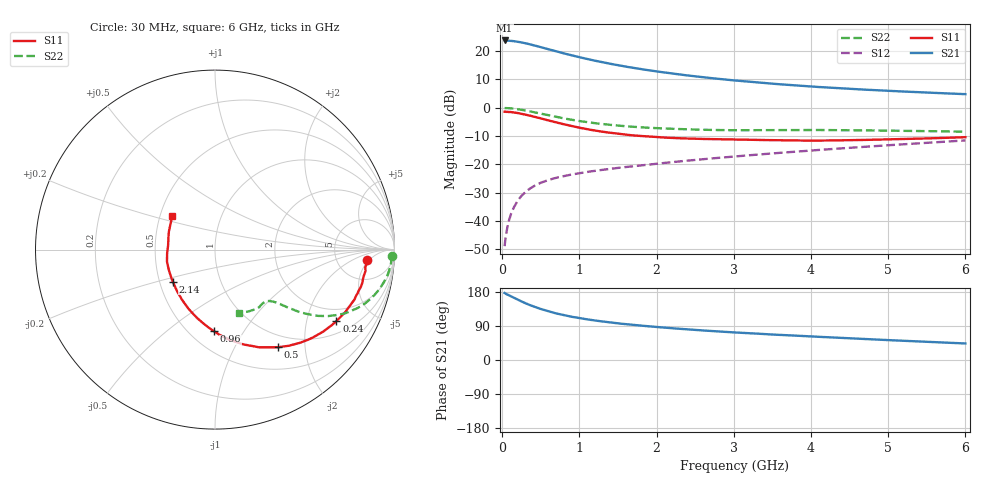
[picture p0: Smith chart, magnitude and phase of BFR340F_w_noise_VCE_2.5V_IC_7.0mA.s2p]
! Infineon Technologies  Discrete & RF Semiconductors
! BFR340F
! VCE =  2.5 V,  IC =  7.0 mA
! Common Emitter S-Parameters:  Nov 2015
# GHz  S  MA  R  50
!  f  S11  S21  S12  S22
! GHz  MAG  ANG  MAG  ANG  MAG  ANG  MAG  ANG
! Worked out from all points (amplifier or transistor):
!   206 points, 30 MHz to 6 GHz, reference 50 ohm
!   highest |S21| = 23.7 dB at 30 MHz (marker M1)
!   |S21| within 3 dB of that: start of sweep to 584.7 MHz
!   unconditionally stable (mu >= 1): 2.515 GHz to 5.563 GHz
!   at 200 MHz: K = 0.15, MSG = 28.1 dB, |S12| = -32.8 dB
!   at 1.56 GHz: K = 0.84, MSG = 17.9 dB, |S12| = -21.1 dB
!   at 6 GHz: K = 0.98, MSG = 8.2 dB, |S12| = -11.6 dB
!   lowest NFmin = 1.25 dB at 450 MHz
!   S11 on the Smith chart (normalised r, x): 30 MHz: 10, -4; 240 MHz: 1.46, -3.02; 500 MHz: 0.81, -1.52; 960 MHz: 0.65, -0.75; 2.14 GHz: 0.59, -0.23; 6 GHz: 0.58, +0.24
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0.03  0.8489 -4.0  15.36 176.9  0.0036 86.6  0.9861 -2.0
0.05  0.8423 -6.6  15.26 174.1  0.0058 87.0  0.9845 -3.5
0.07  0.843 -9.4  15.32 172.1  0.0083 84.4  0.9827 -4.9
0.14  0.8268 -18.3  15.01 165.1  0.0164 80.5  0.9649 -9.7
0.24  0.7851 -30.5  14.27 155.3  0.0269 74.7  0.923 -16.0
0.3  0.7557 -37.3  13.71 149.8  0.0324 71.7  0.8927 -19.3
0.36  0.7233 -43.8  13.11 144.7  0.0375 69.0  0.8597 -22.2
0.5  0.6473 -57.2  11.69 134.5  0.0474 64.0  0.7827 -27.6
0.6  0.5962 -65.9  10.74 128.2  0.0531 61.5  0.7318 -30.4
0.7  0.5497 -73.6  9.858 122.8  0.058 59.8  0.686 -32.6
0.8  0.5095 -80.7  9.069 118.2  0.0623 58.6  0.646 -34.2
0.96  0.4551 -90.7  8.014 111.9  0.0685 57.5  0.5931 -36.1
1.04  0.4323 -95.4  7.553 109.1  0.0714 57.2  0.5708 -36.9
1.2  0.3953 -104.3  6.753 104.2  0.0769 57.0  0.5328 -38.0
1.44  0.3547 -116.0  5.811 98.1  0.0847 57.3  0.4912 -39.3
1.72  0.3223 -128.0  4.986 92.1  0.0937 58.1  0.4578 -40.6
2.02  0.3015 -138.8  4.327 86.8  0.1035 59.2  0.4345 -41.8
2.14  0.2951 -142.8  4.111 84.9  0.1075 59.5  0.4276 -42.4
3.1  0.2735 -167.8  2.953 71.8  0.141 62.1  0.4004 -48.0
4.1  0.2628 173.5  2.318 61.2  0.1795 63.2  0.4038 -53.3
5.1  0.2779 156.5  1.956 51.6  0.2218 63.1  0.3923 -61.2
6  0.3018 142.2  1.734 43.6  0.2643 61.9  0.3771 -69.4
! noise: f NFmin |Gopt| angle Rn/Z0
0.45  1.25  0.38  2  0.3
0.9  1.27  0.38  11  0.33
1.9  1.54  0.25  11  0.31
2.4  1.69  0.21  23  0.3
